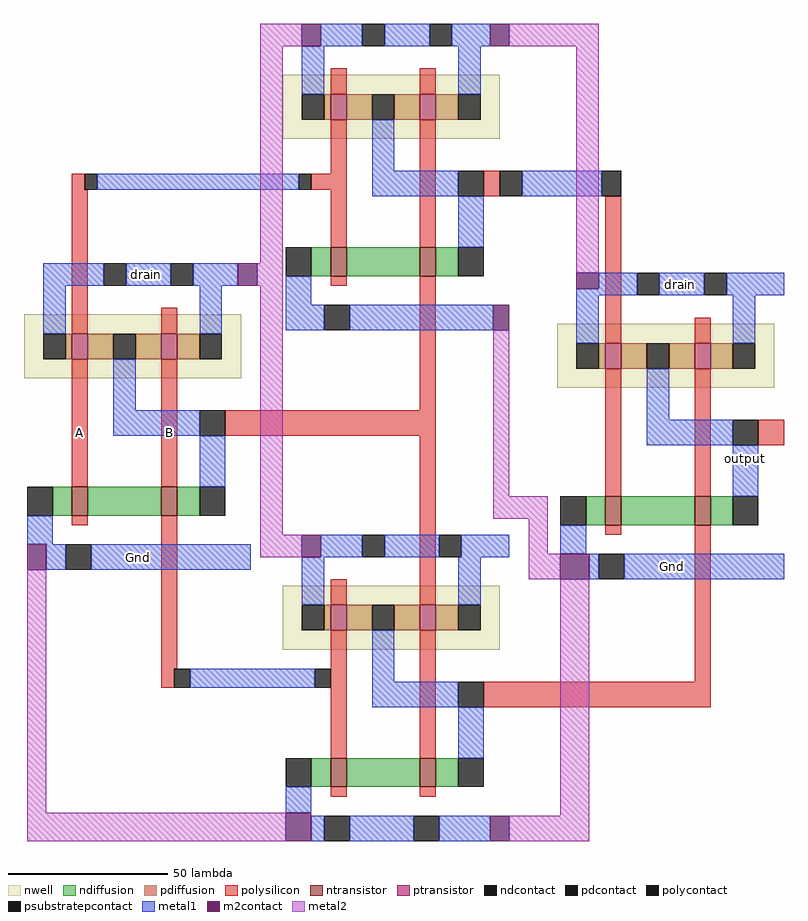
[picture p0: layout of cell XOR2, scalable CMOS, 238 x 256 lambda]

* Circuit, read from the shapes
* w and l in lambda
.subckt XOR2 A B Gnd drain output
M1 n1 A Gnd Gnd nfet w=9 l=5
M2 n2 B n1 Gnd nfet w=9 l=5
M3 n3 B Gnd Gnd nfet w=9 l=5
M4 n4 A Gnd Gnd nfet w=9 l=5
M5 n5 n2 n3 Gnd nfet w=9 l=5
M6 n6 n2 n4 Gnd nfet w=9 l=5
M7 n7 n6 Gnd Gnd nfet w=9 l=5
M8 output n5 n7 Gnd nfet w=9 l=5
M9 n2 A drain n8 pfet w=8 l=5
M10 drain B n2 n8 pfet w=8 l=5
M11 n5 B drain n9 pfet w=8 l=5
M12 n6 A drain n10 pfet w=8 l=5
M13 drain n2 n5 n9 pfet w=8 l=5
M14 drain n2 n6 n10 pfet w=8 l=5
M15 output n6 drain n11 pfet w=8 l=5
M16 drain n5 output n11 pfet w=8 l=5
.ends

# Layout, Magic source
magic
tech scmos
<< nwell >>
rect -19 77 49 97
rect -100 2 -32 22
rect 67 -1 135 19
rect -19 -83 49 -63
<< ntransistor >>
rect -4 34 1 43
rect 24 34 29 43
rect -85 -41 -80 -32
rect -57 -41 -52 -32
rect 82 -44 87 -35
rect 110 -44 115 -35
rect -4 -126 1 -117
rect 24 -126 29 -117
<< ptransistor >>
rect -4 83 1 91
rect 24 83 29 91
rect -85 8 -80 16
rect -57 8 -52 16
rect 82 5 87 13
rect 110 5 115 13
rect -4 -77 1 -69
rect 24 -77 29 -69
<< ndiffusion >>
rect -10 34 -4 43
rect 1 34 24 43
rect 29 34 36 43
rect -91 -41 -85 -32
rect -80 -41 -57 -32
rect -52 -41 -45 -32
rect 76 -44 82 -35
rect 87 -44 110 -35
rect 115 -44 122 -35
rect -10 -126 -4 -117
rect 1 -126 24 -117
rect 29 -126 36 -117
<< pdiffusion >>
rect -6 83 -4 91
rect 1 83 9 91
rect 16 83 24 91
rect 29 83 36 91
rect -87 8 -85 16
rect -80 8 -72 16
rect -65 8 -57 16
rect -52 8 -45 16
rect 80 5 82 13
rect 87 5 95 13
rect 102 5 110 13
rect 115 5 122 13
rect -6 -77 -4 -69
rect 1 -77 9 -69
rect 16 -77 24 -69
rect 29 -77 36 -69
<< ndcontact >>
rect 6 106 13 113
rect 27 106 34 113
rect -75 31 -68 38
rect -54 31 -47 38
rect -18 34 -10 43
rect 36 34 44 43
rect 92 28 99 35
rect 113 28 120 35
rect -99 -41 -91 -32
rect -45 -41 -37 -32
rect 6 -54 13 -47
rect 68 -44 76 -35
rect 122 -44 130 -35
rect 30 -54 37 -47
rect -18 -126 -10 -117
rect 36 -126 44 -117
<< pdcontact >>
rect -13 83 -6 91
rect 9 83 16 91
rect 36 83 43 91
rect -94 8 -87 16
rect -72 8 -65 16
rect -45 8 -38 16
rect 73 5 80 13
rect 95 5 102 13
rect 122 5 129 13
rect -13 -77 -6 -69
rect 9 -77 16 -69
rect 36 -77 43 -69
<< psubstratepcontact >>
rect -6 17 2 25
rect -87 -58 -79 -50
rect 80 -61 88 -53
rect -6 -143 2 -135
rect 22 -143 30 -135
<< polysilicon >>
rect -4 91 1 99
rect 24 91 29 99
rect -4 66 1 83
rect -85 61 -81 66
rect -10 61 1 66
rect -85 16 -80 61
rect -4 43 1 61
rect 24 43 29 83
rect 44 59 49 67
rect -4 31 1 34
rect -57 16 -52 24
rect -85 -32 -80 8
rect -57 -32 -52 8
rect 24 -8 29 34
rect 82 13 87 59
rect 110 13 115 21
rect -37 -16 29 -8
rect -85 -44 -80 -41
rect -57 -89 -52 -41
rect -4 -69 1 -61
rect 24 -69 29 -16
rect 82 -35 87 5
rect 110 -35 115 5
rect 130 -19 138 -11
rect 82 -47 87 -44
rect -57 -95 -53 -89
rect -4 -117 1 -77
rect 24 -117 29 -77
rect 110 -93 115 -44
rect 44 -101 115 -93
rect -4 -129 1 -126
rect 24 -129 29 -126
<< polycontact >>
rect -81 61 -77 66
rect -14 61 -10 66
rect 36 59 44 67
rect 49 59 56 67
rect 81 59 87 67
rect -45 -16 -37 -8
rect 122 -19 130 -11
rect -53 -95 -48 -89
rect -9 -95 -4 -89
rect 36 -101 44 -93
<< metal1 >>
rect -7 106 6 113
rect 13 106 27 113
rect 34 106 46 113
rect -13 91 -6 106
rect 36 91 43 106
rect 9 67 16 83
rect -77 61 -14 66
rect 9 59 36 67
rect 56 59 81 67
rect 36 43 44 59
rect -94 31 -75 38
rect -68 31 -54 38
rect -47 31 -33 38
rect -94 16 -87 31
rect -45 16 -38 31
rect -18 25 -10 34
rect 80 30 92 35
rect 73 28 92 30
rect 99 28 113 35
rect 120 28 138 35
rect -18 17 -6 25
rect 2 17 47 25
rect 73 13 80 28
rect 122 13 129 28
rect -72 -8 -65 8
rect -72 -16 -45 -8
rect -45 -32 -37 -16
rect 95 -11 102 5
rect 95 -19 122 -11
rect 122 -35 130 -19
rect -99 -50 -91 -41
rect -93 -58 -87 -50
rect -79 -58 -29 -50
rect -7 -54 6 -47
rect 13 -54 30 -47
rect 37 -54 52 -47
rect 68 -53 76 -44
rect -13 -69 -6 -54
rect 36 -69 43 -54
rect 77 -61 80 -53
rect 88 -61 138 -53
rect -48 -95 -9 -89
rect 9 -93 16 -77
rect 9 -101 36 -93
rect 36 -117 44 -101
rect -18 -134 -10 -126
rect -10 -143 -6 -135
rect 2 -143 22 -135
rect 30 -143 46 -135
<< m2contact >>
rect -13 106 -7 113
rect 46 106 52 113
rect -33 31 -27 38
rect 73 30 80 35
rect 47 17 52 25
rect -99 -58 -93 -50
rect -13 -54 -7 -47
rect 68 -61 77 -53
rect -18 -143 -10 -134
rect 46 -143 52 -135
<< metal2 >>
rect -26 106 -13 113
rect 52 106 80 113
rect -26 38 -19 106
rect -27 31 -19 38
rect -26 -47 -19 31
rect 73 35 80 106
rect 47 -35 52 17
rect 47 -42 64 -35
rect -26 -54 -13 -47
rect 58 -53 64 -42
rect -99 -134 -93 -58
rect 58 -61 68 -53
rect -99 -143 -18 -134
rect 68 -135 77 -61
rect 52 -143 77 -135
<< labels >>
rlabel metal1 -94 31 -29 38 5 drain
rlabel metal1 -99 -58 -29 -50 1 Gnd
rlabel polysilicon -85 -32 -80 2 1 A
rlabel polysilicon -57 -32 -52 2 1 B
rlabel metal1 68 -61 138 -53 1 Gnd
rlabel metal1 73 28 138 35 5 drain
rlabel metal1 122 -35 130 -11 1 output
<< end >>
